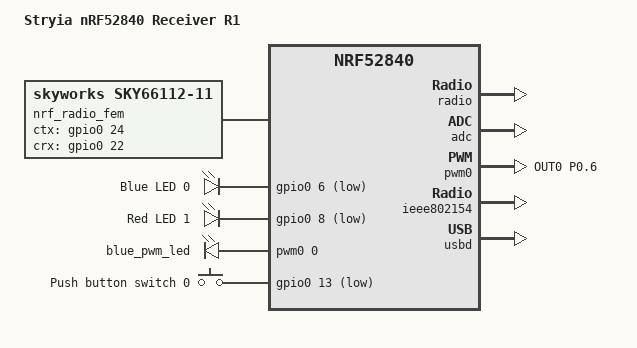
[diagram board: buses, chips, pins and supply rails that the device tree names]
// Copyright (c) 2024 Nordic Semiconductor ASA
// SPDX-License-Identifier: Apache-2.0

/dts-v1/;
#include <nordic/nrf52840_qiaa.dtsi>
#include <zephyr/dt-bindings/input/input-event-codes.h>

&pinctrl {
	pwm0_default: pwm0_default {
		group1 {
			psels = <NRF_PSEL(PWM_OUT0, 0, 6)>;
			nordic,invert;
		};
	};

	pwm0_sleep: pwm0_sleep {
		group1 {
			psels = <NRF_PSEL(PWM_OUT0, 0, 6)>;
			low-power-enable;
		};
	};
};

/ {
	model = "Stryia nRF52840 Receiver R1";
	compatible = "styria_r1_uf2";

	chosen {
		zephyr,console = &cdc_acm_uart;
		zephyr,shell-uart = &cdc_acm_uart;
		zephyr,uart-mcumgr = &cdc_acm_uart;
		zephyr,bt-mon-uart = &cdc_acm_uart;
		zephyr,bt-c2h-uart = &cdc_acm_uart;
		zephyr,sram = &sram0;
		zephyr,flash = &flash0;
		zephyr,ieee802154 = &ieee802154;
	};

	nrf_radio_fem: skyFem {
			compatible = "skyworks,sky66112-11", "generic-fem-two-ctrl-pins";
			ctx-gpios = <&gpio0 24 GPIO_ACTIVE_HIGH>;
			ctx-settle-time-us = <2>;
			crx-gpios = <&gpio0 22 GPIO_ACTIVE_HIGH>;
			crx-settle-time-us = <2>;
			tx-gain-db = <22>;
			rx-gain-db = <12>;
	};

	leds {
		compatible = "gpio-leds";
		led0_blue: led_0 {
			gpios = <&gpio0 6 GPIO_ACTIVE_LOW>;
			label = "Blue LED 0";
		};
		led1_red: led_1 {
			gpios = <&gpio0 8 GPIO_ACTIVE_LOW>;
			label = "Red LED 1";
		};
	};

	pwmleds {
		compatible = "pwm-leds";
		blue_pwm_led: pwm_led_0 {
			pwms = <&pwm0 0 PWM_MSEC(1) PWM_POLARITY_INVERTED>;
		};
	};

	buttons {
		compatible = "gpio-keys";
		button0: button_0 {
			gpios = <&gpio0 13 (GPIO_PULL_UP | GPIO_ACTIVE_LOW)>;
			label = "Push button switch 0";
			zephyr,code = <INPUT_KEY_0>;
		};
	};

	aliases {
		sw0 = &button0;
		led0 = &led0_blue;
		led1 = &led1_red;
		led0-blue = &led0_blue;
		led1-red   = &led1_red;
		pwm-led0 = &blue_pwm_led;
		blue-pwm-led = &blue_pwm_led;
		watchdog0 = &wdt0;
	};
};

&reg0 {
    status = "disabled";
};

&reg1 {
	regulator-initial-mode = <NRF5X_REG_MODE_LDO>;
};

&radio {
    fem = <&nrf_radio_fem>;
};

&adc {
	status = "okay";
};

&gpio0 {
	status = "okay";
};

&gpiote {
	status = "okay";
};

&uicr {
	nfct-pins-as-gpios;
	gpio-as-nreset;
};

&pwm0 {
	status = "okay";
	pinctrl-0 = <&pwm0_default>;
	pinctrl-1 = <&pwm0_sleep>;
	pinctrl-names = "default", "sleep";
};

&ieee802154 {
	status = "okay";
};

zephyr_udc0: &usbd {
	compatible = "nordic,nrf-usbd";
	status = "okay";
	cdc_acm_uart: cdc_acm_uart {
		compatible = "zephyr,cdc-acm-uart";
	};
};

&cryptocell {
	status = "disabled";
};

&nfct {
	status = "disabled";
};
